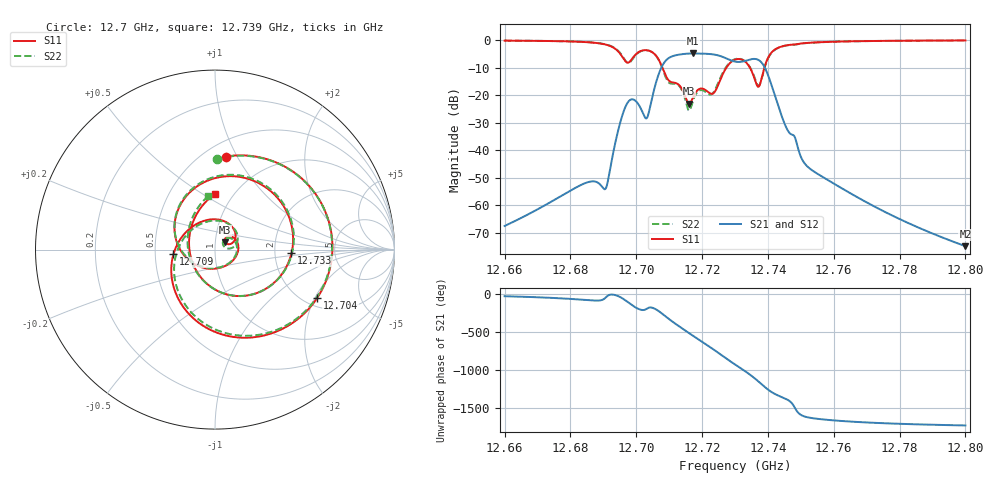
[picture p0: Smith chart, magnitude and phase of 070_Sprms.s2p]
! TOUCHSTONE file generated by CST MICROWAVE STUDIO
! Date and time: Wed Jul 31 14:14:19 2024
! Project name: WaveGuide_BPF-Ver4.1_U-shape_Ku_T3_C4_CWA_2.cst
! Parameters = {cavity_h=16; cavity_l0=10; cavity_l1=15.2243; cavity_l2=16.8799; cavity_l3=17.143; cavity_l4=17.2956; cavity_l5=17.1546; cavity_l6=17.5972; cavity_r=2.5; cavity_screw_l=0.5; cavity_screw_r=1.5; cavity_w=8; iris_h00=0; iris_h01=8.8086; iris_h112=0; iris_h12=5.602; iris_h211=3.6586; ir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
! Header version: 2018
! Port assignment regex: !\s*Touchstone port\s*([0-9]+)\s*=\s*(CST MWS port|CST DS port)\s*([0-9]+|Zmin|Zmax)\s*\(\"(.*)\"\)(\s*mode\s*([0-9]+))?.*
! Touchstone port assignment:
! Touchstone port 1 = CST MWS port 1 ("")
! Touchstone port 2 = CST MWS port 2 ("")
# GHz S RI R 50
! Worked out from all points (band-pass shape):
!   5001 points, 12.66 GHz to 12.8 GHz, reference 50 ohm
!   highest |S21| = -4.88 dB at 12.717 GHz (marker M1); lowest = -75.0 dB at 12.8 GHz (marker M2)
!   |S21| within 3 dB of the highest: 12.70868 GHz to 12.73028 GHz (21.6 MHz wide, 0.17 % of centre); 12.73193 GHz to 12.73784 GHz (5.911 MHz wide, 0.0464 % of centre)
!   lowest |S11| = -23.1 dB at 12.716 GHz (marker M3), VSWR 1.15, Z = 55.9 + j4.45 ohm
!   |S11| at or under -10 dB: 12.70794 GHz to 12.72739 GHz (19.45 MHz wide, 0.153 % of centre); 12.73451 GHz to 12.73894 GHz (4.425 MHz wide, 0.0347 % of centre)
!   |S22| runs from -25.7 to -0.1 dB; largest |S21 - S12| = 1e-09
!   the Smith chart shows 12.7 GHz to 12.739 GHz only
!   S11 on the Smith chart (normalised r, x): 12.7 GHz: 0.63, +0.90; 12.704 GHz: 2.35, -2.09; 12.709 GHz: 0.62, -0.03; 12.733 GHz: 2.48, -0.13; 12.739 GHz: 0.83, +0.57
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12.66  0.4007 0.8909  0.000365 -0.000199  0.000365 -0.000199  0.3973 0.8927
12.68335  0.8673 0.3283  0.000655 -0.00224  0.000655 -0.00224  0.863 0.344
12.69063  0.778 -0.2879  0.00128 -0.00149  0.00128 -0.00149  0.7952 -0.258
12.69433  0.2014 -0.6043  0.0188 -0.00847  0.0188 -0.00847  0.2592 -0.5999
12.6971  -0.3861 -0.0689  -0.00613 -0.068  -0.00613 -0.068  -0.3704 -0.1372
12.69951  0.0593 0.5182  -0.0792 -0.0157  -0.0792 -0.0157  0.0101 0.5049
12.70418  0.5705 -0.2677  -0.06 -0.00379  -0.06 -0.00379  0.5852 -0.2364
12.70668  -0.00987 -0.4545  -0.1735 0.1465  -0.1735 0.1465  0.0166 -0.451
12.70886  -0.2316 -0.0259  0.1566 0.3851  0.1566 0.3851  -0.2155 -0.0231
12.71166  0.0351 0.1638  0.48 -0.2074  0.48 -0.2074  0.065 0.1486
12.71608  0.0574 0.0397  -0.5146 -0.2409  -0.5146 -0.2409  0.0461 0.0242
12.71732  0.0625 0.0676  -0.5602 0.1053  -0.5602 0.1053  0.055 0.0591
12.72303  0.0184 -0.1036  0.5499 0.0481  0.5499 0.0481  -0.0182 -0.1032
12.72611  -0.2184 0.0606  0.0102 -0.4982  0.0102 -0.4982  -0.2236 0.094
12.73  0.2205 0.3813  -0.3669 0.1745  -0.3669 0.1745  0.2269 0.3871
12.73258  0.4259 -0.021  0.0655 0.4052  0.0655 0.4052  0.4319 -0.0104
12.73549  0.0239 -0.2347  0.4462 -0.0816  0.4462 -0.0816  0.0419 -0.2416
12.7389  0.00158 0.3116  -0.2349 -0.2297  -0.2349 -0.2297  -0.0372 0.2989
12.74341  0.6944 -0.2474  -0.0103 0.0554  -0.0103 0.0554  0.7023 -0.205
12.75335  -0.2654 -0.8579  -0.00425 0.000734  -0.00425 0.000734  -0.2441 -0.8623
12.77668  -0.9634 -0.0936  -0.000119 0.000683  -0.000119 0.000683  -0.9626 -0.0981
12.8  -0.9251 0.3331  5.16e-05 0.000171  5.16e-05 0.000171  -0.9252 0.3326
